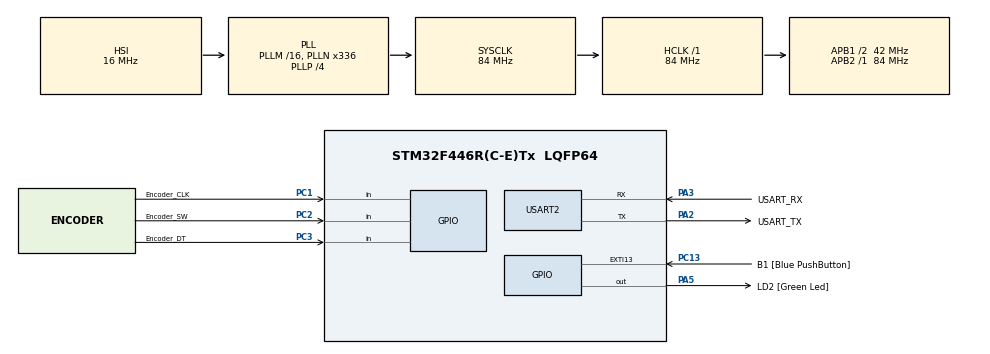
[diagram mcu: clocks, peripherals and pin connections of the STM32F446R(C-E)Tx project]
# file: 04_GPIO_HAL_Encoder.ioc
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Mcu.Family=STM32F4
Mcu.Name=STM32F446R(C-E)Tx
Mcu.Package=LQFP64
NVIC.PriorityGroup=NVIC_PRIORITYGROUP_0
PA13.GPIO_Label=TMS
PA13.Mode=Serial_Wire
PA13.Signal=SYS_JTMS-SWDIO
PA14.GPIO_Label=TCK
PA14.Mode=Serial_Wire
PA14.Signal=SYS_JTCK-SWCLK
PA2.GPIO_Label=USART_TX
PA2.Mode=Asynchronous
PA2.Signal=USART2_TX
PA3.GPIO_Label=USART_RX
PA3.Mode=Asynchronous
PA3.Signal=USART2_RX
PA5.GPIO_Label=LD2 [Green Led]
PA5.Signal=GPIO_Output
PB3.GPIO_Label=SWO
PB3.Signal=SYS_JTDO-SWO
PC1.GPIO_Label=Encoder_CLK
PC1.Signal=GPIO_Input
PC13.GPIO_Label=B1 [Blue PushButton]
PC13.GPIO_ModeDefaultEXTI=GPIO_MODE_IT_FALLING
PC13.Signal=GPXTI13
PC14-OSC32_IN.Mode=LSE-External-Oscillator
PC14-OSC32_IN.Signal=RCC_OSC32_IN
PC15-OSC32_OUT.Mode=LSE-External-Oscillator
PC15-OSC32_OUT.Signal=RCC_OSC32_OUT
PC2.GPIO_Label=Encoder_SW
PC2.GPIO_PuPd=GPIO_PULLUP
PC2.Signal=GPIO_Input
PC3.GPIO_Label=Encoder_DT
PC3.Signal=GPIO_Input
PH0-OSC_IN.Mode=HSE-External-Oscillator
PH0-OSC_IN.Signal=RCC_OSC_IN
PH1-OSC_OUT.Mode=HSE-External-Oscillator
PH1-OSC_OUT.Signal=RCC_OSC_OUT
ProjectManager.HeapSize=0x200
ProjectManager.StackSize=0x400
ProjectManager.TargetToolchain=STM32CubeIDE
RCC.48MHZClocksFreq_Value=84000000
RCC.AHBFreq_Value=84000000
RCC.APB1CLKDivider=RCC_HCLK_DIV2
RCC.APB1Freq_Value=42000000
RCC.APB1TimFreq_Value=84000000
RCC.APB2Freq_Value=84000000
RCC.APB2TimFreq_Value=84000000
RCC.CortexFreq_Value=84000000
RCC.FLatency-AdvancedSettings=FLASH_LATENCY_2
RCC.HCLKFreq_Value=84000000
RCC.HSE_VALUE=8000000
RCC.HSI_VALUE=16000000
RCC.PLLN=336
RCC.PLLP=RCC_PLLP_DIV4
RCC.SYSCLKFreq_VALUE=84000000
RCC.SYSCLKSource=RCC_SYSCLKSOURCE_PLLCLK
RCC.USBFreq_Value=168000000
RCC.VCOOutputFreq_Value=336000000
USART2.VirtualMode=VM_ASYNC
board=NUCLEO-F446RE

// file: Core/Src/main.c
/* USER CODE BEGIN Header */
/**
  ******************************************************************************
  * @file           : main.c
  * @brief          : Main program body
  ******************************************************************************
  * @attention
  *
  * Copyright (c) 2022 STMicroelectronics.
  * All rights reserved.
  *
  * This software is licensed under terms that can be found in the LICENSE file
  * in the root directory of this software component.
  * If no LICENSE file comes with this software, it is provided AS-IS.
  *
  ******************************************************************************
  */
/* USER CODE END Header */
#include "main.h"

UART_HandleTypeDef huart2;

void SystemClock_Config(void);
static void MX_GPIO_Init(void);
static void MX_USART2_UART_Init(void);

/* USER CODE BEGIN 0 */
void vEncoderLeft(void);
void vEncoderRight(void);
void vEncoderPosition(int position);
/* USER CODE END 0 */

int main(void)
{

  /* MCU Configuration--------------------------------------------------------*/

  /* Reset of all peripherals, Initializes the Flash interface and the Systick. */
  HAL_Init();

  /* Configure the system clock */
  SystemClock_Config();

  /* Initialize all configured peripherals */
  MX_GPIO_Init();
  MX_USART2_UART_Init();
  /* USER CODE BEGIN 2 */
  int encoderPostCount = 0;
  int pinALast;
  int aVal;
  uint8_t bCW;

  pinALast = HAL_GPIO_ReadPin(GPIOC, Encoder_CLK_Pin);

  /* USER CODE END 2 */

  /* Infinite loop */
  while (1)
  {

    /* USER CODE BEGIN 3 */
	  //aVal =  digitalRead(PinClk);
	  aVal = HAL_GPIO_ReadPin(GPIOC, Encoder_CLK_Pin);

	  if(aVal != pinALast)
	  {
	    //if(digitalRead(PinData) != aVal)
		if(HAL_GPIO_ReadPin(GPIOC, Encoder_DT_Pin) != aVal)
	    {
	      encoderPostCount++;
	      bCW = 1;
	    }
	    else
	    {
	      encoderPostCount--;
	      bCW = 0;
	    }

	    //Serial.print("Rotação: ");
	    if(bCW)
	    {
	      //Serial.println("horária");
	      vEncoderRight();
	    }
	    else
	    {
	      //Serial.println("anti-horária");
	      vEncoderLeft();
	    }

//	    HAL_Delay(1000);
//	    vEncoderPosition(encoderPostCount);
//	    Serial.print("Posição do encoder: ");
//	    Serial.println(encoderPostCount);
	  }

	  pinALast = aVal;
  }
  /* USER CODE END 3 */
}

void SystemClock_Config(void)
{
  RCC_OscInitTypeDef RCC_OscInitStruct = {0};
  RCC_ClkInitTypeDef RCC_ClkInitStruct = {0};

  /** Configure the main internal regulator output voltage
  */
  __HAL_RCC_PWR_CLK_ENABLE();
  __HAL_PWR_VOLTAGESCALING_CONFIG(PWR_REGULATOR_VOLTAGE_SCALE3);

  /** Initializes the RCC Oscillators according to the specified parameters
  * in the RCC_OscInitTypeDef structure.
  */
  RCC_OscInitStruct.OscillatorType = RCC_OSCILLATORTYPE_HSI;
  RCC_OscInitStruct.HSIState = RCC_HSI_ON;
  RCC_OscInitStruct.HSICalibrationValue = RCC_HSICALIBRATION_DEFAULT;
  RCC_OscInitStruct.PLL.PLLState = RCC_PLL_ON;
  RCC_OscInitStruct.PLL.PLLSource = RCC_PLLSOURCE_HSI;
  RCC_OscInitStruct.PLL.PLLM = 16;
  RCC_OscInitStruct.PLL.PLLN = 336;
  RCC_OscInitStruct.PLL.PLLP = RCC_PLLP_DIV4;
  RCC_OscInitStruct.PLL.PLLQ = 2;
  RCC_OscInitStruct.PLL.PLLR = 2;
  if (HAL_RCC_OscConfig(&RCC_OscInitStruct) != HAL_OK)
  {
    Error_Handler();
  }

  /** Initializes the CPU, AHB and APB buses clocks
  */
  RCC_ClkInitStruct.ClockType = RCC_CLOCKTYPE_HCLK|RCC_CLOCKTYPE_SYSCLK
                              |RCC_CLOCKTYPE_PCLK1|RCC_CLOCKTYPE_PCLK2;
  RCC_ClkInitStruct.SYSCLKSource = RCC_SYSCLKSOURCE_PLLCLK;
  RCC_ClkInitStruct.AHBCLKDivider = RCC_SYSCLK_DIV1;
  RCC_ClkInitStruct.APB1CLKDivider = RCC_HCLK_DIV2;
  RCC_ClkInitStruct.APB2CLKDivider = RCC_HCLK_DIV1;

  if (HAL_RCC_ClockConfig(&RCC_ClkInitStruct, FLASH_LATENCY_2) != HAL_OK)
  {
    Error_Handler();
  }
}

static void MX_USART2_UART_Init(void)
{

  huart2.Instance = USART2;
  huart2.Init.BaudRate = 115200;
  huart2.Init.WordLength = UART_WORDLENGTH_8B;
  huart2.Init.StopBits = UART_STOPBITS_1;
  huart2.Init.Parity = UART_PARITY_NONE;
  huart2.Init.Mode = UART_MODE_TX_RX;
  huart2.Init.HwFlowCtl = UART_HWCONTROL_NONE;
  huart2.Init.OverSampling = UART_OVERSAMPLING_16;
  if (HAL_UART_Init(&huart2) != HAL_OK)
  {
    Error_Handler();
  }

}

static void MX_GPIO_Init(void)
{
  GPIO_InitTypeDef GPIO_InitStruct = {0};

  /* GPIO Ports Clock Enable */
  __HAL_RCC_GPIOC_CLK_ENABLE();
  __HAL_RCC_GPIOH_CLK_ENABLE();
  __HAL_RCC_GPIOA_CLK_ENABLE();
  __HAL_RCC_GPIOB_CLK_ENABLE();

  /*Configure GPIO pin Output Level */
  HAL_GPIO_WritePin(LD2_GPIO_Port, LD2_Pin, GPIO_PIN_RESET);

  /*Configure GPIO pin : B1_Pin */
  GPIO_InitStruct.Pin = B1_Pin;
  GPIO_InitStruct.Mode = GPIO_MODE_IT_FALLING;
  GPIO_InitStruct.Pull = GPIO_NOPULL;
  HAL_GPIO_Init(B1_GPIO_Port, &GPIO_InitStruct);

  /*Configure GPIO pins : Encoder_CLK_Pin Encoder_DT_Pin */
  GPIO_InitStruct.Pin = Encoder_CLK_Pin|Encoder_DT_Pin;
  GPIO_InitStruct.Mode = GPIO_MODE_INPUT;
  GPIO_InitStruct.Pull = GPIO_NOPULL;
  HAL_GPIO_Init(GPIOC, &GPIO_InitStruct);

  /*Configure GPIO pin : Encoder_SW_Pin */
  GPIO_InitStruct.Pin = Encoder_SW_Pin;
  GPIO_InitStruct.Mode = GPIO_MODE_INPUT;
  GPIO_InitStruct.Pull = GPIO_PULLUP;
  HAL_GPIO_Init(Encoder_SW_GPIO_Port, &GPIO_InitStruct);

  /*Configure GPIO pin : LD2_Pin */
  GPIO_InitStruct.Pin = LD2_Pin;
  GPIO_InitStruct.Mode = GPIO_MODE_OUTPUT_PP;
  GPIO_InitStruct.Pull = GPIO_NOPULL;
  GPIO_InitStruct.Speed = GPIO_SPEED_FREQ_LOW;
  HAL_GPIO_Init(LD2_GPIO_Port, &GPIO_InitStruct);

}

/* USER CODE BEGIN 4 */

void vEncoderLeft(void)
{
	HAL_GPIO_WritePin(LD2_GPIO_Port, LD2_Pin, GPIO_PIN_SET);
	HAL_Delay(100);
	HAL_GPIO_WritePin(LD2_GPIO_Port, LD2_Pin, GPIO_PIN_RESET);
	HAL_Delay(100);
}

void vEncoderRight(void)
{
	HAL_GPIO_WritePin(LD2_GPIO_Port, LD2_Pin, GPIO_PIN_SET);
	HAL_Delay(50);
	HAL_GPIO_WritePin(LD2_GPIO_Port, LD2_Pin, GPIO_PIN_RESET);
	HAL_Delay(50);
	HAL_GPIO_WritePin(LD2_GPIO_Port, LD2_Pin, GPIO_PIN_SET);
	HAL_Delay(50);
	HAL_GPIO_WritePin(LD2_GPIO_Port, LD2_Pin, GPIO_PIN_RESET);
	HAL_Delay(50);
}

void vEncoderPosition(int position)
{
	for(int i = 0; i < position; i++)
	{
		HAL_GPIO_WritePin(LD2_GPIO_Port, LD2_Pin, GPIO_PIN_SET);
		HAL_Delay(200);
		HAL_GPIO_WritePin(LD2_GPIO_Port, LD2_Pin, GPIO_PIN_RESET);
		HAL_Delay(200);
	}
}

/* USER CODE END 4 */

void Error_Handler(void)
{
  __disable_irq();
  while (1)
  {
  }
}
